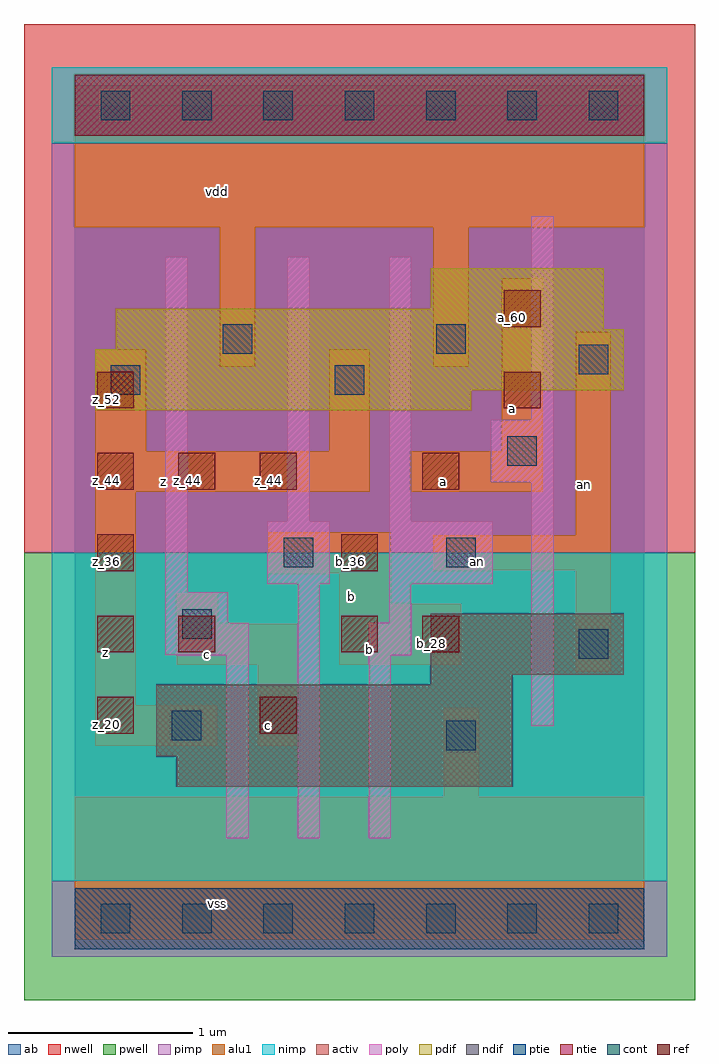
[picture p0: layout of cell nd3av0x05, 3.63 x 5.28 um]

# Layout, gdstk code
import gdstk
lib = gdstk.Library(unit=1e-6, precision=2.5e-09)
def R(c, l, rs):  # rectangles x0, y0, x1, y1
    for r in rs: c.add(gdstk.rectangle(r[:2], r[2:], *l))
def A(c, l, x, y, w, h, nx, ny, dx, dy):  # array of equal rectangles
    R(c, l, [(x+i*dx, y+j*dy, x+i*dx+w, y+j*dy+h) for i in range(nx) for j in range(ny)])
ndif = (3, 0)
pdif = (4, 0)
ntie = (5, 0)
ptie = (6, 0)
ref = (24, 0)
cont = (25, 0)
pwell = (41, 0)
nwell = (42, 0)
activ = (43, 0)
pimp = (44, 0)
nimp = (45, 0)
poly = (46, 0)
alu1 = (49, 0)
ab = (63, 0)

nd3av0x05 = lib.new_cell('nd3av0x05')
R(nd3av0x05, ndif, [(0.55,0.715,2.365,0.88), (0.44,0.88,2.365,1.265), (1.925,1.265,2.365,1.32), (1.925,1.32,2.97,1.65)])
R(nd3av0x05, pdif, [(0.11,2.75,2.145,2.86), (0.11,2.86,2.97,3.08), (0.22,3.08,2.97,3.19), (0.22,3.19,2.86,3.3), (1.925,3.3,2.86,3.52)])
R(nd3av0x05, ntie, [(0,4.235,3.08,4.565)])
R(nd3av0x05, ptie, [(0,-0.165,3.08,0.165)])
A(nd3av0x05, ref, 0.12, 1, 0.2, 0.2, 1, 3, 0, 0.44)
A(nd3av0x05, ref, 0.12, 2.32, 0.2, 0.2, 3, 1, 0.44, 0)
R(nd3av0x05, ref, [(1,1,1.2,1.2), (0.56,1.44,0.76,1.64), (1.44,1.44,1.64,1.64), (1.88,1.44,2.08,1.64), (1.44,1.88,1.64,2.08), (1.88,2.32,2.08,2.52), (0.12,2.76,0.32,2.96), (2.32,2.76,2.52,2.96), (2.32,3.2,2.52,3.4)])
A(nd3av0x05, cont, 0.14, -0.08, 0.16, 0.16, 7, 2, 0.44, 4.4)
R(nd3av0x05, cont, [(2.01,0.91,2.17,1.07), (0.525,0.965,0.685,1.125), (2.725,1.405,2.885,1.565), (0.58,1.515,0.74,1.675), (1.13,1.9,1.29,2.06), (2.01,1.9,2.17,2.06), (2.34,2.45,2.5,2.61), (0.195,2.835,0.355,2.995), (1.405,2.835,1.565,2.995), (2.725,2.945,2.885,3.105), (0.8,3.055,0.96,3.215), (1.955,3.055,2.115,3.215)])
R(nd3av0x05, pwell, [(-0.275,-0.44,3.355,1.98)])
R(nd3av0x05, nwell, [(-0.275,1.98,3.355,4.84)])
R(nd3av0x05, activ, [(0,-0.165,3.08,0.165), (0.55,0.715,2.365,0.88), (0.44,0.88,2.365,1.265), (1.925,1.265,2.365,1.32), (1.925,1.32,2.97,1.65), (0.11,2.75,2.145,2.86), (0.11,2.86,2.97,3.08), (0.22,3.08,2.97,3.19), (0.22,3.19,2.86,3.3), (1.925,3.3,2.86,3.52), (0,4.235,3.08,4.565)])
R(nd3av0x05, pimp, [(-0.125,-0.205,3.205,0.205), (-0.125,1.98,3.205,4.195)])
R(nd3av0x05, nimp, [(-0.125,0.205,3.205,1.98), (-0.125,4.195,3.205,4.605)])
R(nd3av0x05, poly, [(0.82,0.435,0.94,1.425), (1.205,0.435,1.325,1.81), (1.59,0.435,1.71,1.425), (2.47,1.04,2.59,2.36), (0.49,1.425,0.94,1.6), (1.59,1.425,1.82,1.6), (0.49,1.6,0.83,1.765), (1.7,1.6,1.82,1.81), (0.49,1.765,0.61,3.58), (1.04,1.81,1.38,2.15), (1.7,1.81,2.26,2.15), (1.15,2.15,1.27,3.58), (1.7,2.15,1.82,3.58), (2.25,2.36,2.59,2.7), (2.47,2.7,2.59,3.8)])
R(nd3av0x05, alu1, [(0,-0.11,3.08,0.66), (1.995,0.66,2.185,1.14), (0.11,0.935,0.77,1.155), (0.99,0.935,1.21,1.375), (0.11,1.155,0.33,2.31), (2.71,1.335,2.9,1.885), (0.55,1.375,1.21,1.595), (1.43,1.375,2.09,1.705), (0.55,1.595,0.77,1.76), (1.43,1.705,1.705,1.87), (1.045,1.87,1.705,2.09), (1.94,1.885,2.9,2.075), (2.71,2.075,2.9,3.175), (0.11,2.31,1.595,2.53), (1.815,2.31,2.53,2.53), (0.11,2.53,0.385,3.08), (1.375,2.53,1.595,3.08), (2.31,2.53,2.53,3.465), (0.785,2.985,0.975,3.74), (1.94,2.985,2.13,3.74), (0,3.74,3.08,4.51)])
R(nd3av0x05, ab, [(0,0,3.08,4.4)])
nd3av0x05.add(gdstk.Label('vss', (0.77,0.0825), layer=49, texttype=0))
nd3av0x05.add(gdstk.Label('c', (1.045,1.045), layer=49, texttype=0))
nd3av0x05.add(gdstk.Label('b', (1.595,1.4575), layer=49, texttype=0))
nd3av0x05.add(gdstk.Label('c', (0.715,1.43), layer=49, texttype=0))
nd3av0x05.add(gdstk.Label('b', (1.4975,1.745), layer=49, texttype=0))
nd3av0x05.add(gdstk.Label('an', (2.18,1.9325), layer=49, texttype=0))
nd3av0x05.add(gdstk.Label('an', (2.7575,2.35), layer=49, texttype=0))
nd3av0x05.add(gdstk.Label('z', (0.165,1.4425), layer=49, texttype=0))
nd3av0x05.add(gdstk.Label('a', (1.9925,2.365), layer=49, texttype=0))
nd3av0x05.add(gdstk.Label('z', (0.48,2.365), layer=49, texttype=0))
nd3av0x05.add(gdstk.Label('a', (2.365,2.7625), layer=49, texttype=0))
nd3av0x05.add(gdstk.Label('vdd', (0.77,3.9325), layer=49, texttype=0))
nd3av0x05.add(gdstk.Label('a_60', (2.37,3.25), layer=24, texttype=0))
nd3av0x05.add(gdstk.Label('a_52', (2.37,2.81), layer=24, texttype=0))
nd3av0x05.add(gdstk.Label('z_44', (1.05,2.37), layer=24, texttype=0))
nd3av0x05.add(gdstk.Label('z_44', (0.61,2.37), layer=24, texttype=0))
nd3av0x05.add(gdstk.Label('a_36', (1.93,2.37), layer=24, texttype=0))
nd3av0x05.add(gdstk.Label('b_28', (1.93,1.49), layer=24, texttype=0))
nd3av0x05.add(gdstk.Label('b_28', (1.49,1.49), layer=24, texttype=0))
nd3av0x05.add(gdstk.Label('b_36', (1.49,1.93), layer=24, texttype=0))
nd3av0x05.add(gdstk.Label('z_52', (0.17,2.81), layer=24, texttype=0))
nd3av0x05.add(gdstk.Label('z_44', (0.17,2.37), layer=24, texttype=0))
nd3av0x05.add(gdstk.Label('z_36', (0.17,1.93), layer=24, texttype=0))
nd3av0x05.add(gdstk.Label('z_28', (0.17,1.49), layer=24, texttype=0))
nd3av0x05.add(gdstk.Label('z_20', (0.17,1.05), layer=24, texttype=0))
nd3av0x05.add(gdstk.Label('c_20', (1.05,1.05), layer=24, texttype=0))
nd3av0x05.add(gdstk.Label('c_28', (0.61,1.49), layer=24, texttype=0))

lib.write_gds('nd3av0x05.gds')
